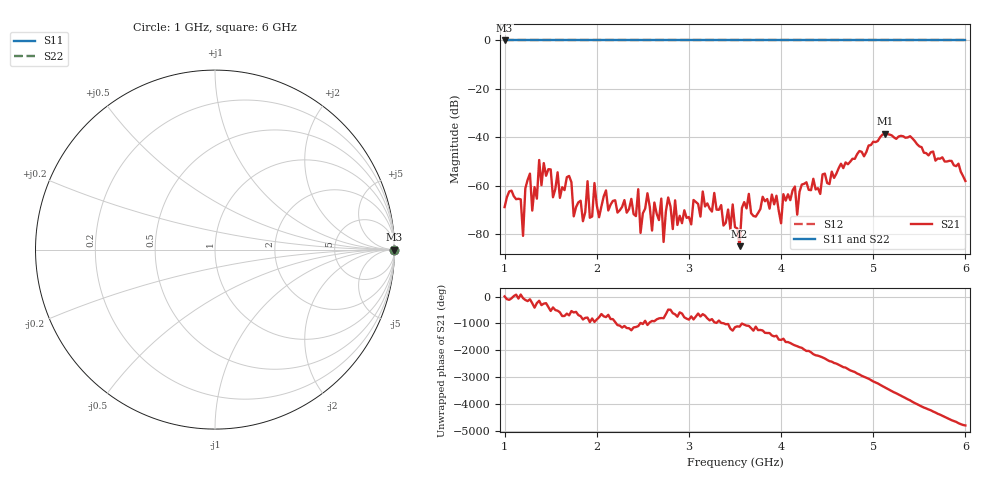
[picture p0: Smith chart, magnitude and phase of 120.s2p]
!Keysight Technologies N9926A: A.08.19
!Date: Sunday, 01 March 2026 13:40:48
!Timezone: (GMT-06:00) Central Time (US & Canada)
!Model: N9926A
!Serial: MY53102721
!GPS Latitude:
!GPS Longitude:
!GPS TimeStamp: 0001-01-01 00:00:00Z
!GPS Seconds Since Last Read: 0
!CHECKSUM:1584693734
!Correction: S11()S21(ON U)S12()S22()
!S2P File: Measurements:S11,S21,S12,S22:
# Hz S DB R 50
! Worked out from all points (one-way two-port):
!   201 points, 1 GHz to 6 GHz, reference 50 ohm
!   highest |S21| = -38.52 dB at 5.125 GHz (marker M1); lowest = -85.0 dB at 3.55 GHz (marker M2)
!   lowest |S11| = 0.0 dB at 1 GHz (marker M3)
!   |S11| at or under -10 dB: nowhere
!   |S22| runs from 0.0 to 0.0 dB; largest |S21 - S12| = 1
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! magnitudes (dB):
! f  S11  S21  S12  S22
! 1 GHz  0.0  -68.8  0.0  0.0
! 1.175 GHz  0.0  -65.6  0.0  0.0
! 1.2 GHz  0.0  -80.7  0.0  0.0
! 1.225 GHz  0.0  -61.1  0.0  0.0
! 1.3 GHz  0.0  -70.3  0.0  0.0
! 1.375 GHz  0.0  -49.4  0.0  0.0
! 1.85 GHz  0.0  -74.7  0.0  0.0
! 1.9 GHz  0.0  -58.1  0.0  0.0
! 1.925 GHz  0.0  -73.2  0.0  0.0
! 1.975 GHz  0.0  -58.9  0.0  0.0
! 2.025 GHz  0.0  -73.0  0.0  0.0
! 2.45 GHz  0.0  -61.4  0.0  0.0
! 2.675 GHz  0.0  -74.2  0.0  0.0
! 3.15 GHz  0.0  -62.4  0.0  0.0
! 3.5 GHz  0.0  -77.1  0.0  0.0
! 3.55 GHz  0.0  -85.0  0.0  0.0
! 3.65 GHz  0.0  -63.4  0.0  0.0
! 4 GHz  0.0  -75.5  0.0  0.0
! 4.35 GHz  0.0  -57.1  0.0  0.0
! 5.125 GHz  0.0  -38.5  0.0  0.0
! 5.175 GHz  0.0  -38.9  0.0  0.0
! 6 GHz  0.0  -58.1  0.0  0.0
